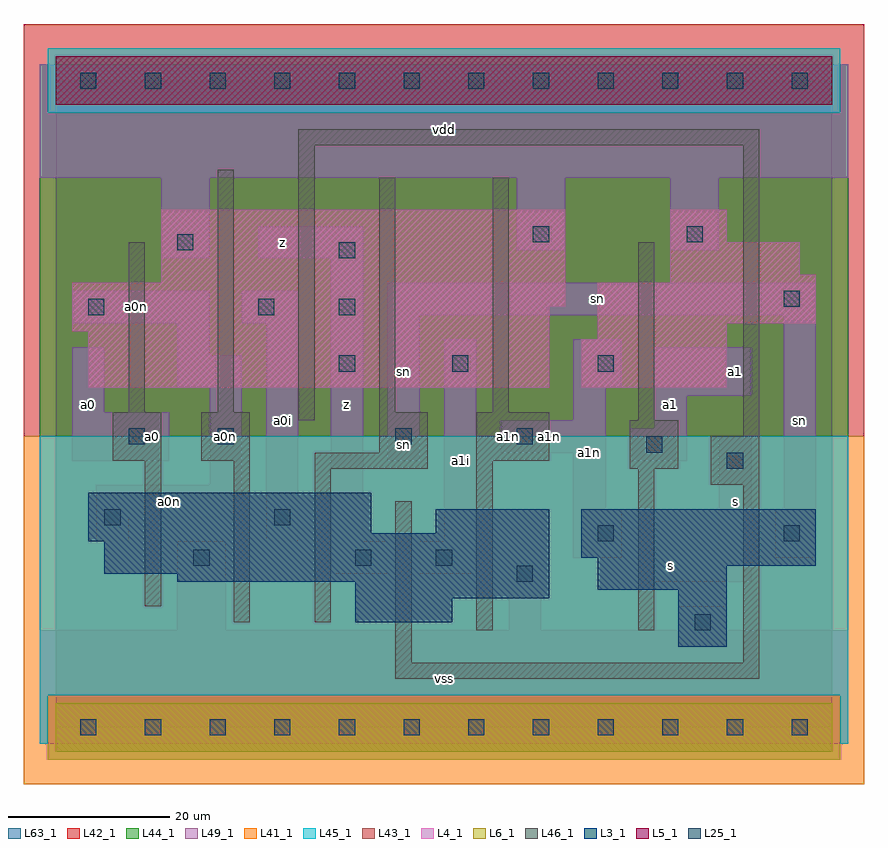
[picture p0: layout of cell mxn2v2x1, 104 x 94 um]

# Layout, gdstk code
import gdstk
lib = gdstk.Library(unit=1e-6, precision=1e-09)
def R(c, l, rs):  # rectangles x0, y0, x1, y1
    for r in rs: c.add(gdstk.rectangle(r[:2], r[2:], *l))
def A(c, l, x, y, w, h, nx, ny, dx, dy):  # array of equal rectangles
    R(c, l, [(x+i*dx, y+j*dy, x+i*dx+w, y+j*dy+h) for i in range(nx) for j in range(ny)])
L3_1 = (3, 1)
L4_1 = (4, 1)
L5_1 = (5, 1)
L6_1 = (6, 1)
L25_1 = (25, 1)
L41_1 = (41, 1)
L42_1 = (42, 1)
L43_1 = (43, 1)
L44_1 = (44, 1)
L45_1 = (45, 1)
L46_1 = (46, 1)
L49_1 = (49, 1)
L63_1 = (63, 1)

mxn2v2x1 = lib.new_cell('mxn2v2x1')
R(mxn2v2x1, L3_1, [(77,10,83,17), (37,13,49,16), (37,16,61,18), (67,17,83,20), (15,18,61,19), (6,19,61,23), (67,20,94,21), (65,21,94,27), (4,23,61,24), (4,24,39,29), (47,24,61,27)])
R(mxn2v2x1, L4_1, [(4,42,61,49), (65,42,83,48), (67,48,83,50), (2,49,61,52), (67,50,94,55), (2,52,63,55), (13,55,63,64), (76,55,94,56), (76,56,92,60), (76,60,83,64)])
R(mxn2v2x1, L5_1, [(0,77,96,83)])
R(mxn2v2x1, L6_1, [(0,-3,96,3), (0,-3,96,3)])
A(mxn2v2x1, L25_1, 3, -1, 2, 2, 12, 2, 8, 80)
A(mxn2v2x1, L25_1, 35, 44, 2, 2, 1, 3, 0, 7)
R(mxn2v2x1, L25_1, [(79,12,81,14), (57,18,59,20), (17,20,19,22), (37,20,39,22), (47,20,49,22), (67,23,69,25), (90,23,92,25), (6,25,8,27), (27,25,29,27), (83,32,85,34), (73,34,75,36), (9,35,11,37), (20,35,22,37), (42,35,44,37), (57,35,59,37), (49,44,51,46), (67,44,69,46), (4,51,6,53), (25,51,27,53), (90,52,92,54), (15,59,17,61), (59,60,61,62), (78,60,80,62)])
R(mxn2v2x1, L41_1, [(-4,-7,100,36)])
R(mxn2v2x1, L42_1, [(-4,36,100,87)])
R(mxn2v2x1, L43_1, [(0,-3,96,3), (77,10,83,17), (37,13,49,16), (37,16,61,18), (67,17,83,20), (15,18,61,19), (6,19,61,23), (67,20,94,21), (65,21,94,27), (4,23,61,24), (4,24,39,29), (47,24,61,27), (4,42,61,49), (65,42,83,48), (67,48,83,50), (2,49,61,52), (67,50,94,55), (2,52,63,55), (13,55,63,64), (76,55,94,56), (76,56,92,60), (76,60,83,64), (0,77,96,83)])
R(mxn2v2x1, L44_1, [(-1,-4,97,4), (-2,36,98,76), (-2,76,-1,82), (97,76,98,82)])
R(mxn2v2x1, L45_1, [(-2,-2,-1,4), (97,-2,98,4), (-2,4,98,36), (-1,76,97,84)])
R(mxn2v2x1, L46_1, [(42,6,87,8), (42,8,44,28), (85,8,87,30), (52,12,54,33), (72,12,74,32), (22,13,24,33), (32,13,34,32), (11,15,13,33), (81,30,87,36), (32,32,46,34), (71,32,77,38), (7,33,13,39), (18,33,24,39), (52,33,61,39), (40,34,46,39), (85,36,87,72), (30,38,32,72), (72,38,74,60), (9,39,11,60), (20,39,22,69), (40,39,42,68), (54,39,56,68), (30,72,87,74)])
R(mxn2v2x1, L49_1, [(-2,-2,98,12), (15,12,21,23), (56,12,60,22), (77,12,83,15), (73,18,86,22), (34,19,41,23), (45,19,52,23), (64,21,70,27), (89,21,94,27), (82,22,86,36), (5,23,9,26), (26,23,30,50), (34,23,38,58), (48,23,52,48), (5,26,23,30), (64,27,68,34), (90,27,94,51), (19,30,23,42), (2,33,14,39), (41,33,45,51), (71,33,78,37), (55,34,68,38), (74,37,78,41), (64,38,68,42), (2,39,6,47), (74,41,86,47), (15,42,23,46), (64,42,70,48), (15,46,19,50), (2,50,19,54), (23,50,30,54), (41,51,94,55), (13,58,19,68), (25,58,38,62), (57,59,63,68), (76,59,82,68), (-2,68,98,82)])
R(mxn2v2x1, L63_1, [(0,0,96,80)])
mxn2v2x1.add(gdstk.Label('a0n', (21,36), layer=49, texttype=1))
mxn2v2x1.add(gdstk.Label('sn', (43,35), layer=49, texttype=1))
mxn2v2x1.add(gdstk.Label('a1n', (56,36), layer=46, texttype=1))
mxn2v2x1.add(gdstk.Label('a0', (4,40), layer=49, texttype=1))
mxn2v2x1.add(gdstk.Label('a0', (12,36), layer=49, texttype=1))
mxn2v2x1.add(gdstk.Label('a0n', (14,28), layer=49, texttype=1))
mxn2v2x1.add(gdstk.Label('a0n', (21,36), layer=49, texttype=1))
mxn2v2x1.add(gdstk.Label('a0n', (10,52), layer=49, texttype=1))
mxn2v2x1.add(gdstk.Label('a0i', (28,38), layer=49, texttype=1))
mxn2v2x1.add(gdstk.Label('z', (28,60), layer=49, texttype=1))
mxn2v2x1.add(gdstk.Label('vss', (48,6), layer=49, texttype=1))
mxn2v2x1.add(gdstk.Label('z', (36,40), layer=49, texttype=1))
mxn2v2x1.add(gdstk.Label('sn', (43,44), layer=49, texttype=1))
mxn2v2x1.add(gdstk.Label('a1i', (50,33), layer=49, texttype=1))
mxn2v2x1.add(gdstk.Label('vdd', (48,74), layer=49, texttype=1))
mxn2v2x1.add(gdstk.Label('s', (76,20), layer=49, texttype=1))
mxn2v2x1.add(gdstk.Label('a1n', (61,36), layer=49, texttype=1))
mxn2v2x1.add(gdstk.Label('a1', (76,40), layer=49, texttype=1))
mxn2v2x1.add(gdstk.Label('a1n', (66,34), layer=49, texttype=1))
mxn2v2x1.add(gdstk.Label('s', (84,28), layer=49, texttype=1))
mxn2v2x1.add(gdstk.Label('a1', (84,44), layer=49, texttype=1))
mxn2v2x1.add(gdstk.Label('sn', (92,38), layer=49, texttype=1))
mxn2v2x1.add(gdstk.Label('sn', (67,53), layer=49, texttype=1))

lib.write_gds('mxn2v2x1.gds')
